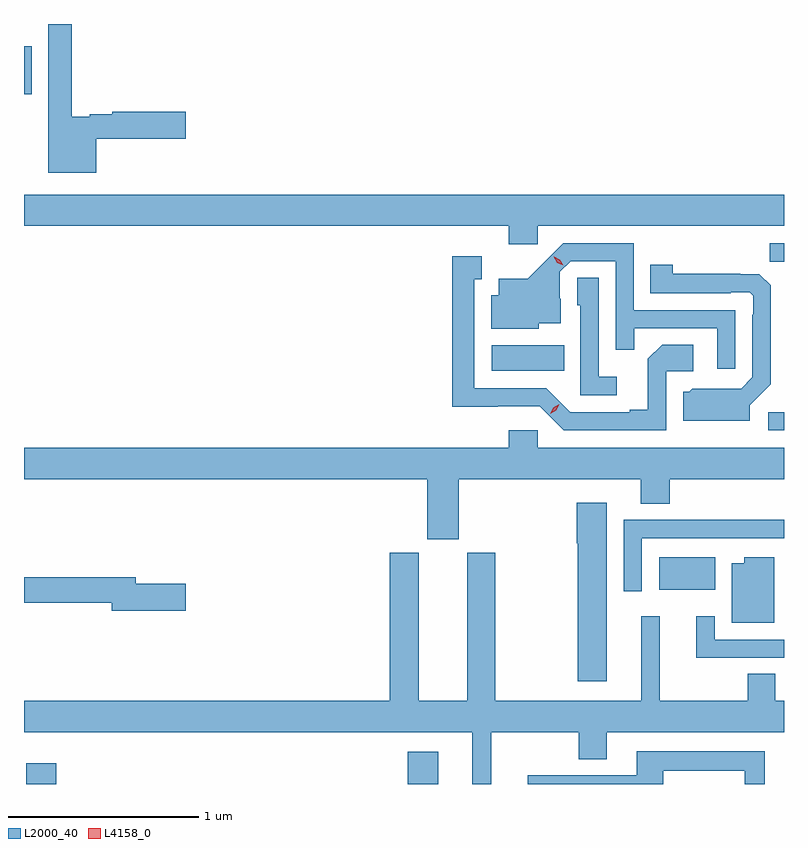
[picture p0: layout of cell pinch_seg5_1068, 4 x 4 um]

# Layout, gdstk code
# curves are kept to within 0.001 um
import gdstk
lib = gdstk.Library(unit=1e-6, precision=1e-09)
def R(c, l, rs):  # rectangles x0, y0, x1, y1
    for r in rs: c.add(gdstk.rectangle(r[:2], r[2:], *l))
def P(c, l, *ps):  # polygons
    for p in ps: c.add(gdstk.Polygon(p, *l))
L2000_40 = (2000, 40)
L4158_0 = (4158, 0)

pinch_seg5_1068 = lib.new_cell('pinch_seg5_1068')
R(pinch_seg5_1068, L2000_40, [(794.264,863.147,794.423,863.257), (796.274,863.147,796.432,863.317), (797.597,864.17,797.89,864.34), (798.171,865.008,798.253,865.104), (796.716,865.322,797.096,865.456), (798.178,865.897,798.253,865.992), (794.253,866.777,794.293,867.031)])
P(pinch_seg5_1068, L2000_40, [(794.632,866.542),(795.103,866.542),(795.103,866.684),(794.718,866.684),(794.718,866.672),(794.6,866.672),(794.6,866.659),(794.503,866.659),(794.503,867.147),(794.381,867.147),(794.381,866.363),(794.632,866.363)],
  [(796.956,866.084),(798.253,866.084),(798.253,866.248),(794.253,866.248),(794.253,866.084),(796.805,866.084),(796.805,865.989),(796.956,865.989)],
  [(797.997,865.641),(797.463,865.641),(797.463,865.992),(797.09,865.992),(796.903,865.807),(796.751,865.807),(796.751,865.72),(796.712,865.72),(796.712,865.544),(796.962,865.544),(796.962,865.571),(797.077,865.571),(797.077,865.7),(797.073,865.7),(797.073,865.842),(797.13,865.899),(797.367,865.899),(797.367,865.432),(797.465,865.432),(797.465,865.545),(797.901,865.545),(797.901,865.332),(797.997,865.332)],
  [(797.634,865.32),(797.776,865.32),(797.776,865.46),(797.611,865.46),(797.535,865.384),(797.535,865.117),(797.441,865.117),(797.441,865.104),(797.127,865.104),(797.001,865.23),(796.624,865.23),(796.624,865.803),(796.663,865.803),(796.663,865.924),(796.506,865.924),(796.506,865.133),(796.968,865.134),(797.094,865.008),(797.634,865.008)],
  [(798.073,865.14),(798.183,865.25),(798.183,865.772),(798.124,865.831),(797.667,865.832),(797.667,865.879),(797.548,865.879),(797.548,865.731),(797.972,865.731),(797.972,865.734),(798.072,865.734),(798.09,865.716),(798.09,865.616),(798.087,865.616),(798.087,865.287),(798.027,865.227),(797.77,865.228),(797.754,865.212),(797.723,865.212),(797.723,865.058),(798.073,865.058)],
  [(797.374,865.291),(797.277,865.291),(797.277,865.811),(797.166,865.811),(797.166,865.668),(797.181,865.668),(797.181,865.194),(797.374,865.194)],
  [(796.54,864.752),(797.498,864.752),(797.498,864.622),(797.651,864.622),(797.651,864.752),(798.253,864.752),(798.253,864.916),(796.956,864.916),(796.956,865.009),(796.805,865.009),(796.805,864.916),(794.253,864.916),(794.253,864.752),(796.376,864.752),(796.376,864.435),(796.54,864.435)],
  [(797.32,864.628),(797.162,864.628),(797.162,864.415),(797.167,864.415),(797.167,863.688),(797.32,863.688)],
  [(797.505,864.441),(798.253,864.441),(798.253,864.539),(797.734,864.539),(797.734,864.537),(797.409,864.537),(797.409,864.162),(797.505,864.162)],
  [(796.712,863.42),(797.173,863.42),(797.173,863.278),(797.32,863.278),(797.32,863.42),(798.253,863.42),(798.253,863.584),(798.208,863.584),(798.208,863.726),(798.061,863.726),(798.061,863.584),(797.6,863.584),(797.6,864.031),(797.501,864.031),(797.501,863.584),(796.734,863.584),(796.734,864.363),(796.586,864.363),(796.586,863.584),(796.33,863.584),(796.33,864.363),(796.178,864.363),(796.178,863.584),(794.253,863.584),(794.253,863.42),(796.613,863.42),(796.613,863.147),(796.712,863.147)],
  [(798.202,864.34),(798.044,864.34),(798.044,864.31),(797.978,864.31),(797.978,863.996),(798.202,863.996)],
  [(795.103,864.2),(794.842,864.2),(794.842,864.236),(794.253,864.236),(794.253,864.1),(794.714,864.1),(794.714,864.058),(795.103,864.058)],
  [(798.253,863.907),(797.889,863.907),(797.889,864.031),(797.792,864.031),(797.792,863.811),(798.253,863.811)],
  [(797.617,863.216),(798.047,863.216),(798.047,863.147),(798.151,863.147),(798.151,863.32),(797.477,863.32),(797.477,863.193),(796.904,863.193),(796.904,863.147),(797.617,863.147)])
P(pinch_seg5_1068, L4158_0, [(797.022,865.095),(797.022,865.095),(797.039,865.128),(797.07,865.147),(797.07,865.147),(797.07,865.147),(797.053,865.114),(797.022,865.095)],
  [(797.09,865.876),(797.06,865.891),(797.042,865.921),(797.042,865.921),(797.043,865.921),(797.073,865.906),(797.09,865.876),(797.09,865.876)])

lib.write_gds('pinch_seg5_1068.gds')
